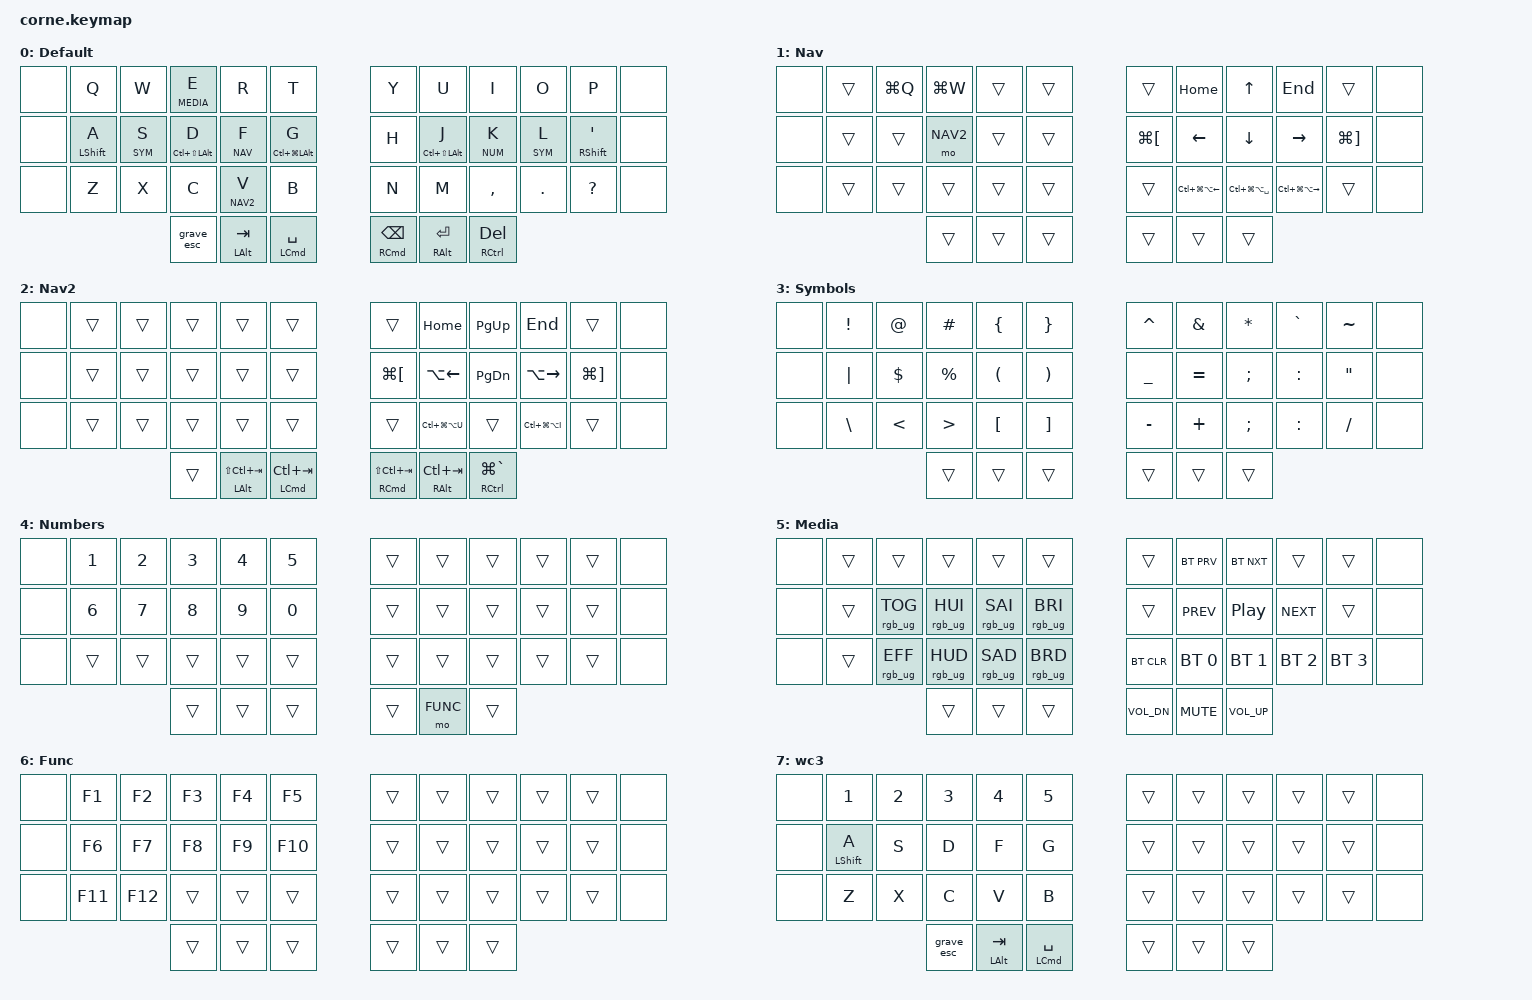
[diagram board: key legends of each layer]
#include <behaviors.dtsi>
#include <dt-bindings/zmk/keys.h>
#include <dt-bindings/zmk/bt.h>
#include <dt-bindings/zmk/rgb.h>

&led_strip {
    chain-length = <24>;
};

#define DEFAULT    0
#define NAV        1
#define NAV2       2
#define SYM        3
#define NUM        4
#define MEDIA      5
#define FUNC       6
#define WC3        7

&caps_word {
  continue-list = <UNDERSCORE MINUS>;
};

/ {
  combos {
    compatible = "zmk,combos";
	combo_game {
      timeout-ms = <50>;
      key-positions = <24 25>;
      bindings = <&tog WC3>;
    };
    // combo_undo {
    //   timeout-ms = <50>;
    //   key-positions = <20 21>;
    //   bindings = <&kp LG(Z)>;
    // };
  };
};

/ {
  behaviors {
    hm: homerow_mods {
      compatible = "zmk,behavior-hold-tap";
      label = "HOMEROW_MODS";
      #binding-cells = <2>;
      tapping-term-ms = <150>; // produces tap if held longer than tapping-term-ms
      quick_tap_ms = <150>;    // if double tapped, long-tabs the key instead of hold
      flavor = "balanced";
      bindings = <&kp>, <&kp>;
    };
    grave_esc: grave_escape {
      compatible = "zmk,behavior-mod-morph";
      #binding-cells = <0>;
      bindings = <&hm LCTRL ESC>, <&kp GRAVE>;
      mods = <(MOD_LGUI|MOD_RGUI)>;
      keep-mods = <(MOD_LGUI|MOD_RGUI)>;
    };
  };
  keymap {
    compatible = "zmk,keymap";
    default_layer {
        label = "Default";
        bindings = <
            &none &kp Q         &kp W         &lt MEDIA E         &kp R      &kp T                &kp Y          &kp U               &kp I           &kp O         &kp P        &none
            &none &hm LSHIFT A  &lt SYM S     &hm LC(LS(LALT)) D  &lt NAV F     &hm LC(LG(LALT)) G   &kp H          &hm LC(LS(LALT)) J  &lt NUM K       &lt SYM L     &hm RSHIFT SQT        &none
            &none &kp Z         &kp X         &kp C               &lt NAV2 V    &kp B                &kp N          &kp M               &kp COMMA       &kp DOT       &kp QMARK        &none
                                        &grave_esc    &hm LALT TAB  &hm LCMD SPACE       &hm RCMD BSPC  &hm RALT ENTER      &hm RCTRL DEL
        >;
    };
    nav_layer {
            label = "Nav";
            bindings = <
                &none &trans  &kp LG(Q)  &kp LG(W)  &trans   &trans             &trans         &kp HOME    &kp UP     &kp END    &trans     &none
                &none &trans  &trans     &mo NAV2   &trans   &trans             &kp LG(LBKT)   &kp LEFT    &kp DOWN   &kp RIGHT  &kp LG(RBKT)     &none
                &none &trans  &trans     &trans     &trans   &trans             &trans         &kp LC(LG(LA(LEFT))) &kp LC(LG(LA(SPACE))) &kp LC(LG(LA(RIGHT))) &trans     &none
                                   &trans     &trans   &trans             &trans         &trans      &trans
            >;
    };
    nav2_layer {
        label = "Nav2";
        bindings = <
            &none &trans  &trans    &trans  &trans                 &trans                 &trans                &kp HOME           &kp PG_UP           &kp END            &trans   &none
            &none &trans  &trans    &trans  &trans                 &trans                 &kp LG(LBKT)          &kp LA(LEFT)       &kp PG_DN           &kp LA(RIGHT)      &kp LG(RBKT)   &none
            &none &trans  &trans    &trans  &trans                 &trans                 &trans                &kp LC(LG(LA(U)))  &trans              &kp LC(LG(LA(I)))  &trans   &none
                                                &trans  &hm LALT LS(LC(TAB))  &hm LCMD LC(TAB)     &hm RCMD LS(LC(TAB))  &hm RALT LC(TAB)   &hm RCTRL LG(GRAVE)
        >;
    };
    sym_layer {
        label = "Symbols";
        bindings = <
            &none &kp EXCL  &kp AT    &kp HASH  &kp LBRC  &kp RBRC     &kp CARET  &kp AMPS  &kp ASTRK  &kp GRAVE  &kp TILDE  &none
            &none &kp PIPE  &kp DLLR  &kp PRCNT &kp LPAR  &kp RPAR     &kp UNDER  &kp EQUAL &kp SEMI   &kp COLON  &kp DQT  &none
            &none &kp BSLH  &kp LT    &kp GT    &kp LBKT  &kp RBKT     &kp MINUS  &kp PLUS  &kp SEMI   &kp COLON  &kp FSLH  &none
                               &trans    &trans    &trans        &trans     &trans    &trans
        >;
    };
    num_layer {
        label = "Numbers";
        bindings = <
            &none &kp N1  &kp N2  &kp N3  &kp N4  &kp N5     &trans  &trans  &trans  &trans  &trans &none
            &none &kp N6  &kp N7  &kp N8  &kp N9  &kp N0     &trans  &trans  &trans  &trans  &trans &none
            &none &trans  &trans  &trans  &trans  &trans     &trans  &trans  &trans  &trans  &trans &none
                            &trans  &trans  &trans     &trans  &mo FUNC   &trans
        >;
    };
    media_layer {
        label = "Media";
        bindings = <
            &none &trans  &trans           &trans           &trans           &trans              &trans        &bt BT_PRV    &bt BT_NXT        &trans        &trans &none
            &none &trans  &rgb_ug RGB_TOG  &rgb_ug RGB_HUI  &rgb_ug RGB_SAI  &rgb_ug RGB_BRI     &trans        &kp C_PREV    &kp C_PLAY_PAUSE  &kp C_NEXT    &trans &none
            &none &trans  &rgb_ug RGB_EFF  &rgb_ug RGB_HUD  &rgb_ug RGB_SAD  &rgb_ug RGB_BRD     &bt BT_CLR    &bt BT_SEL 0  &bt BT_SEL 1      &bt BT_SEL 2  &bt BT_SEL 3 &none
                                                                &trans  &trans  &trans     &kp C_VOL_DN  &kp C_MUTE    &kp C_VOL_UP
        >;
    };
    func_layer {
        label = "Func";
        bindings = <
            &none &kp F1   &kp F2   &kp F3  &kp F4  &kp F5     &trans  &trans  &trans  &trans  &trans &none
            &none &kp F6   &kp F7   &kp F8  &kp F9  &kp F10    &trans  &trans  &trans  &trans  &trans &none
            &none &kp F11  &kp F12  &trans  &trans  &trans     &trans  &trans  &trans  &trans  &trans &none
                                                &trans  &trans  &trans     &trans  &trans  &trans
            >;
    };
    wc3_layer {
        label = "wc3";
        bindings = <
            &none &kp N1  &kp N2  &kp N3  &kp N4  &kp N5                 &trans  &trans  &trans  &trans  &trans &none
            &none &hm LSHIFT A  &kp S &kp D &kp F &kp G                  &trans  &trans  &trans  &trans  &trans &none
            &none &kp Z         &kp X &kp C &kp V &kp B                  &trans  &trans  &trans  &trans  &trans &none
                     &grave_esc  &hm LALT TAB  &hm LCMD SPACE      &trans  &trans  &trans
            >;
    };
  };
};
